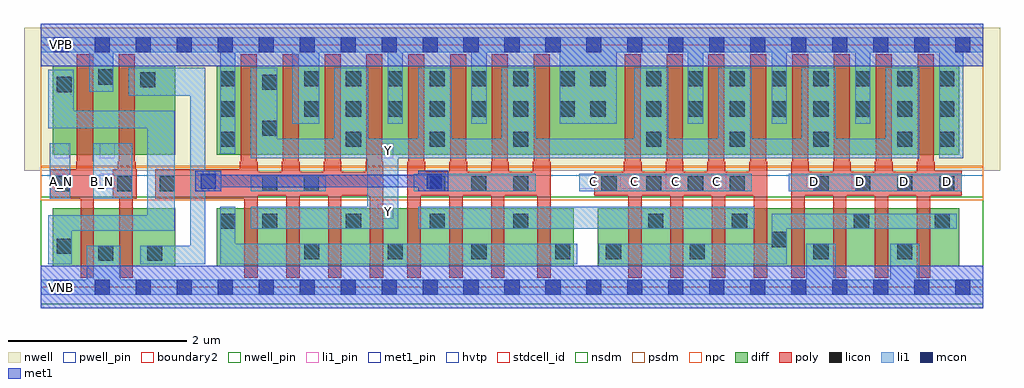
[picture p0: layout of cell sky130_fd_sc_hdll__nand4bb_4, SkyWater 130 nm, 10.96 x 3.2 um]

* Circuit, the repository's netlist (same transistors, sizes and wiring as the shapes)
* Copyright 2020 The SkyWater PDK Authors
*
* Licensed under the Apache License, Version 2.0 (the "License");
* you may not use this file except in compliance with the License.
* You may obtain a copy of the License at
*
*     https://www.apache.org/licenses/LICENSE-2.0
*
* Unless required by applicable law or agreed to in writing, software
* distributed under the License is distributed on an "AS IS" BASIS,
* WITHOUT WARRANTIES OR CONDITIONS OF ANY KIND, either express or implied.
* See the License for the specific language governing permissions and
* limitations under the License.
*
* SPDX-License-Identifier: Apache-2.0

.SUBCKT sky130_fd_sc_hdll__nand4bb_4 A_N B_N C D VGND VNB VPB VPWR Y
*.PININFO A_N:I B_N:I C:I D:I VGND:I VNB:I VPB:I VPWR:I Y:O
MMP0 Y A VPWR VPB sky130_fd_pr__pfet_01v8_hvt m=4 w=1.0U l=0.18U mult=1 sa=0.265
+ sb=0.265 sd=0.28 area=0.063 perim=1.14
MMP1 Y B VPWR VPB sky130_fd_pr__pfet_01v8_hvt m=4 w=1.0U l=0.18U mult=1 sa=0.265
+ sb=0.265 sd=0.28 area=0.063 perim=1.14
MMP2 Y C VPWR VPB sky130_fd_pr__pfet_01v8_hvt m=4 w=1.0U l=0.18U mult=1 sa=0.265
+ sb=0.265 sd=0.28 area=0.063 perim=1.14
MMP3 Y D VPWR VPB sky130_fd_pr__pfet_01v8_hvt m=4 w=1.0U l=0.18U mult=1 sa=0.265
+ sb=0.265 sd=0.28 area=0.063 perim=1.14
MMIP0 A A_N VPWR VPB sky130_fd_pr__pfet_01v8_hvt m=1 w=1.0U l=0.18U mult=1 sa=0.265
+ sb=0.265 sd=0.28 area=0.063 perim=1.14
MMIP1 B B_N VPWR VPB sky130_fd_pr__pfet_01v8_hvt m=1 w=1.0U l=0.18U mult=1 sa=0.265
+ sb=0.265 sd=0.28 area=0.063 perim=1.14
MMN0 Y A sndA VNB sky130_fd_pr__nfet_01v8 m=4 w=0.65U l=0.15U mult=1 sa=0.265 sb=0.265
+ sd=0.28 area=0.063 perim=1.14
MMN1 sndA B sndB VNB sky130_fd_pr__nfet_01v8 m=4 w=0.65U l=0.15U mult=1 sa=0.265
+ sb=0.265 sd=0.28 area=0.063 perim=1.14
MMN2 sndB C sndC VNB sky130_fd_pr__nfet_01v8 m=4 w=0.65U l=0.15U mult=1 sa=0.265
+ sb=0.265 sd=0.28 area=0.063 perim=1.14
MMN3 sndC D VGND VNB sky130_fd_pr__nfet_01v8 m=4 w=0.65U l=0.15U mult=1 sa=0.265
+ sb=0.265 sd=0.28 area=0.063 perim=1.14
MMIN0 A A_N VGND VNB sky130_fd_pr__nfet_01v8 m=1 w=0.65U l=0.15U mult=1 sa=0.265
+ sb=0.265 sd=0.28 area=0.063 perim=1.14
MMIN1 B B_N VGND VNB sky130_fd_pr__nfet_01v8 m=1 w=0.65U l=0.15U mult=1 sa=0.265
+ sb=0.265 sd=0.28 area=0.063 perim=1.14
.ENDS sky130_fd_sc_hdll__nand4bb_4

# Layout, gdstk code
import gdstk
lib = gdstk.Library(unit=1e-6, precision=1e-09)
def R(c, l, rs):  # rectangles x0, y0, x1, y1
    for r in rs: c.add(gdstk.rectangle(r[:2], r[2:], *l))
def A(c, l, x, y, w, h, nx, ny, dx, dy):  # array of equal rectangles
    R(c, l, [(x+i*dx, y+j*dy, x+i*dx+w, y+j*dy+h) for i in range(nx) for j in range(ny)])
def P(c, l, *ps):  # polygons
    for p in ps: c.add(gdstk.Polygon(p, *l))
nwell_pin = (64, 16)
nwell = (64, 20)
diff = (65, 20)
poly = (66, 20)
licon = (66, 44)
li1_pin = (67, 16)
li1 = (67, 20)
mcon = (67, 44)
met1_pin = (68, 16)
met1 = (68, 20)
hvtp = (78, 44)
stdcell_id = (81, 4)
nsdm = (93, 44)
psdm = (94, 20)
npc = (95, 20)
pwell_pin = (122, 16)
boundary2 = (236, 0)

sky130_fd_sc_hdll__nand4 = lib.new_cell('sky130_fd_sc_hdll__nand4bb_4')
R(sky130_fd_sc_hdll__nand4, nwell_pin, [(0.145,2.635,0.315,2.805)])
R(sky130_fd_sc_hdll__nand4, nwell, [(-0.19,1.305,10.77,2.91)])
R(sky130_fd_sc_hdll__nand4, diff, [(0.135,0.235,1.51,0.885), (1.975,0.235,5.985,0.885), (6.255,0.235,10.31,0.885), (0.135,1.485,1.51,2.485), (1.975,1.485,10.31,2.485)])
P(sky130_fd_sc_hdll__nand4, poly, [(0.595,1.41),(0.585,1.41),(0.585,2.615),(0.405,2.615),(0.405,1.41),(0.395,1.41),(0.395,1.325),(0.105,1.325),(0.105,0.995),(0.445,0.995),(0.445,0.105),(0.595,0.105)],
  [(1.075,1.325),(1.065,1.325),(1.065,1.41),(1.055,1.41),(1.055,2.615),(0.875,2.615),(0.875,1.41),(0.865,1.41),(0.865,1.325),(0.805,1.325),(0.805,0.995),(0.88,0.995),(0.88,0.105),(1.03,0.105),(1.03,0.995),(1.075,0.995)],
  [(3.845,1.41),(3.835,1.41),(3.835,2.615),(3.655,2.615),(3.655,1.41),(3.645,1.41),(3.645,1.295),(3.375,1.295),(3.375,1.41),(3.365,1.41),(3.365,2.615),(3.185,2.615),(3.185,1.41),(3.175,1.41),(3.175,1.295),(2.905,1.295),(2.905,1.41),(2.895,1.41),(2.895,2.615),(2.715,2.615),(2.715,1.41),(2.705,1.41),(2.705,1.295),(2.435,1.295),(2.435,1.41),(2.425,1.41),(2.425,2.615),(2.245,2.615),(2.245,1.41),(2.235,1.41),(2.235,1.325),(1.285,1.325),(1.285,0.995),(2.285,0.995),(2.285,0.105),(2.435,0.105),(2.435,1.025),(2.755,1.025),(2.755,0.105),(2.905,0.105),(2.905,1.025),(3.225,1.025),(3.225,0.105),(3.375,0.105),(3.375,1.025),(3.695,1.025),(3.695,0.105),(3.845,0.105)],
  [(5.725,1.41),(5.715,1.41),(5.715,2.615),(5.535,2.615),(5.535,1.41),(5.525,1.41),(5.525,1.295),(5.255,1.295),(5.255,1.41),(5.245,1.41),(5.245,2.615),(5.065,2.615),(5.065,1.41),(5.055,1.41),(5.055,1.295),(4.785,1.295),(4.785,1.41),(4.775,1.41),(4.775,2.615),(4.595,2.615),(4.595,1.41),(4.585,1.41),(4.585,1.295),(4.315,1.295),(4.315,1.41),(4.305,1.41),(4.305,2.615),(4.125,2.615),(4.125,1.41),(4.115,1.41),(4.115,0.105),(4.265,0.105),(4.265,1.025),(4.585,1.025),(4.585,0.105),(4.735,0.105),(4.735,1.025),(5.055,1.025),(5.055,0.105),(5.205,0.105),(5.205,1.025),(5.575,1.025),(5.575,0.105),(5.725,0.105)],
  [(8.155,1.41),(8.145,1.41),(8.145,2.615),(7.965,2.615),(7.965,1.41),(7.955,1.41),(7.955,1.295),(7.685,1.295),(7.685,1.41),(7.675,1.41),(7.675,2.615),(7.495,2.615),(7.495,1.41),(7.485,1.41),(7.485,1.295),(7.215,1.295),(7.215,1.41),(7.205,1.41),(7.205,2.615),(7.025,2.615),(7.025,1.41),(7.015,1.41),(7.015,1.295),(6.745,1.295),(6.745,1.41),(6.735,1.41),(6.735,2.615),(6.555,2.615),(6.555,1.41),(6.545,1.41),(6.545,1.295),(6.215,1.295),(6.215,1.025),(6.595,1.025),(6.595,0.105),(6.745,0.105),(6.745,1.025),(7.065,1.025),(7.065,0.105),(7.215,0.105),(7.215,1.025),(7.535,1.025),(7.535,0.105),(7.685,0.105),(7.685,1.025),(8.005,1.025),(8.005,0.105),(8.155,0.105)],
  [(10.34,1.305),(10.035,1.305),(10.035,1.41),(10.025,1.41),(10.025,2.615),(9.845,2.615),(9.845,1.41),(9.835,1.41),(9.835,1.295),(9.565,1.295),(9.565,1.41),(9.555,1.41),(9.555,2.615),(9.375,2.615),(9.375,1.41),(9.365,1.41),(9.365,1.295),(9.095,1.295),(9.095,1.41),(9.085,1.41),(9.085,2.615),(8.905,2.615),(8.905,1.41),(8.895,1.41),(8.895,1.295),(8.625,1.295),(8.625,1.41),(8.615,1.41),(8.615,2.615),(8.435,2.615),(8.435,1.41),(8.425,1.41),(8.425,0.105),(8.575,0.105),(8.575,1.025),(8.895,1.025),(8.895,0.105),(9.045,0.105),(9.045,1.025),(9.365,1.025),(9.365,0.105),(9.515,0.105),(9.515,1.025),(9.835,1.025),(9.835,0.105),(9.985,0.105),(9.985,1.025),(10.34,1.025)])
A(sky130_fd_sc_hdll__nand4, licon, 2.955, 0.315, 0.17, 0.17, 4, 1, 0.94, 0)
A(sky130_fd_sc_hdll__nand4, licon, 2.485, 0.655, 0.17, 0.17, 4, 1, 0.94, 0)
A(sky130_fd_sc_hdll__nand4, licon, 6.795, 1.075, 0.17, 0.17, 3, 1, 0.47, 0)
A(sky130_fd_sc_hdll__nand4, licon, 8.675, 1.075, 0.17, 0.17, 4, 1, 0.47, 0)
A(sky130_fd_sc_hdll__nand4, licon, 2.015, 1.575, 0.17, 0.17, 1, 3, 0, 0.34)
A(sky130_fd_sc_hdll__nand4, licon, 3.425, 1.575, 0.17, 0.17, 3, 1, 0.94, 0)
A(sky130_fd_sc_hdll__nand4, licon, 6.795, 1.575, 0.17, 0.17, 4, 1, 0.94, 0)
A(sky130_fd_sc_hdll__nand4, licon, 2.955, 1.915, 0.17, 0.17, 6, 2, 0.47, 0.34)
A(sky130_fd_sc_hdll__nand4, licon, 6.795, 1.915, 0.17, 0.17, 8, 2, 0.47, 0.34)
R(sky130_fd_sc_hdll__nand4, licon, [(0.645,0.295,0.815,0.465), (1.195,0.295,1.365,0.465), (6.345,0.315,6.515,0.485), (7.285,0.315,7.455,0.485), (8.675,0.315,8.845,0.485), (9.615,0.315,9.785,0.485), (0.175,0.375,0.345,0.545), (8.205,0.45,8.375,0.62), (2.015,0.655,2.185,0.825), (6.82,0.655,6.99,0.825), (7.76,0.655,7.93,0.825), (9.13,0.655,9.3,0.825), (9.13,0.655,9.3,0.825), (10.035,0.655,10.205,0.825), (0.16,1.075,0.33,1.245), (0.855,1.075,1.025,1.245), (1.335,1.075,1.505,1.245), (2.485,1.075,2.655,1.245), (2.95,1.075,3.12,1.245), (4.37,1.075,4.54,1.245), (4.83,1.075,5,1.245), (5.305,1.075,5.475,1.245), (6.295,1.075,6.465,1.245), (10.085,1.575,10.255,1.745), (2.485,1.7,2.655,1.87), (5.825,1.915,5.995,2.085), (6.17,1.915,6.34,2.085), (0.175,2.19,0.345,2.36), (2.485,2.215,2.655,2.385), (1.115,2.245,1.285,2.415), (5.825,2.255,5.995,2.425), (6.17,2.255,6.34,2.425), (0.645,2.275,0.815,2.445)])
A(sky130_fd_sc_hdll__nand4, li1_pin, 6.505, 1.105, 0.17, 0.17, 3, 1, 0.51, 0)
A(sky130_fd_sc_hdll__nand4, li1_pin, 8.595, 1.105, 0.17, 0.17, 4, 1, 0.51, 0)
R(sky130_fd_sc_hdll__nand4, li1_pin, [(3.785,0.765,3.955,0.935), (0.15,1.105,0.32,1.275), (0.66,1.105,0.83,1.275), (6.045,1.105,6.215,1.275), (0.15,1.445,0.32,1.615), (0.66,1.445,0.83,1.615), (3.785,1.445,3.955,1.615)])
R(sky130_fd_sc_hdll__nand4, li1, [(4.235,0.655,8.01,0.905), (0.1,0.995,0.33,1.615), (0.585,0.995,1.025,1.615), (2.355,1.075,3.2,1.245), (4.185,1.075,5.555,1.275), (6.045,1.075,7.985,1.275), (8.395,1.075,10.34,1.275)])
P(sky130_fd_sc_hdll__nand4, li1, [(10.58,0.085),(9.865,0.085),(9.865,0.485),(9.535,0.485),(9.535,0.085),(8.925,0.085),(8.925,0.485),(8.595,0.485),(8.595,0.085),(0.895,0.085),(0.895,0.465),(0.515,0.465),(0.515,0.085),(0,0.085),(0,-0.085),(10.58,-0.085)],
  [(10.58,2.805),(0,2.805),(0,2.635),(0.54,2.635),(0.54,2.195),(0.815,2.195),(0.815,2.635),(2.015,2.635),(2.015,1.495),(2.185,1.495),(2.185,2.635),(2.825,2.635),(2.825,1.835),(3.125,1.835),(3.125,2.635),(3.895,2.635),(3.895,1.835),(4.065,1.835),(4.065,2.635),(4.835,2.635),(4.835,1.835),(5.005,1.835),(5.005,2.635),(5.825,2.635),(5.825,1.835),(6.465,1.835),(6.465,2.635),(7.265,2.635),(7.265,1.835),(7.435,1.835),(7.435,2.635),(8.205,2.635),(8.205,1.835),(8.375,1.835),(8.375,2.635),(9.145,2.635),(9.145,1.835),(9.315,1.835),(9.315,2.635),(10.085,2.635),(10.085,1.445),(10.36,1.445),(10.36,2.635),(10.58,2.635)],
  [(2.025,1.305),(1.845,1.305),(1.845,2.465),(0.985,2.465),(0.985,2.15),(1.675,2.15),(1.675,0.465),(1.115,0.465),(1.115,0.255),(1.845,0.255),(1.845,1.075),(2.025,1.075)],
  [(1.505,1.98),(0.37,1.98),(0.37,2.44),(0.085,2.44),(0.085,1.785),(1.195,1.785),(1.195,0.805),(0.085,0.805),(0.085,0.255),(0.345,0.255),(0.345,0.635),(1.505,0.635)],
  [(9.865,2.465),(9.485,2.465),(9.485,1.665),(8.925,1.665),(8.925,2.465),(8.545,2.465),(8.545,1.665),(7.985,1.665),(7.985,2.465),(7.605,2.465),(7.605,1.665),(7.045,1.665),(7.045,2.465),(6.665,2.465),(6.665,1.665),(5.555,1.665),(5.555,2.465),(5.175,2.465),(5.175,1.665),(4.615,1.665),(4.615,2.465),(4.235,2.465),(4.235,1.665),(3.675,1.665),(3.675,2.465),(3.295,2.465),(3.295,1.665),(2.655,1.665),(2.655,2.465),(2.355,2.465),(2.355,1.445),(3.665,1.445),(3.665,0.905),(2.355,0.905),(2.355,0.655),(4.015,0.655),(4.015,1.445),(9.865,1.445)],
  [(10.285,0.825),(8.205,0.825),(8.205,0.485),(6.265,0.485),(6.265,0.255),(8.375,0.255),(8.375,0.655),(10.285,0.655)],
  [(6.025,0.485),(2.185,0.485),(2.185,0.905),(2.015,0.905),(2.015,0.255),(6.025,0.255)])
A(sky130_fd_sc_hdll__nand4, mcon, 0.145, -0.085, 0.17, 0.17, 23, 2, 0.46, 2.72)
R(sky130_fd_sc_hdll__nand4, mcon, [(1.795,1.105,1.965,1.275), (4.33,1.105,4.5,1.275)])
R(sky130_fd_sc_hdll__nand4, met1_pin, [(0.145,-0.085,0.315,0.085), (0.145,2.635,0.315,2.805)])
R(sky130_fd_sc_hdll__nand4, met1, [(0,-0.24,10.58,0.24), (0,2.48,10.58,2.96)])
P(sky130_fd_sc_hdll__nand4, met1, [(4.575,1.305),(4.235,1.305),(4.235,1.26),(2.025,1.26),(2.025,1.305),(1.735,1.305),(1.735,1.075),(2.025,1.075),(2.025,1.12),(4.235,1.12),(4.235,1.075),(4.575,1.075)])
R(sky130_fd_sc_hdll__nand4, hvtp, [(0,1.25,10.58,2.72)])
R(sky130_fd_sc_hdll__nand4, stdcell_id, [(0,0,10.58,2.72)])
R(sky130_fd_sc_hdll__nand4, nsdm, [(0,-0.19,10.58,1.015)])
R(sky130_fd_sc_hdll__nand4, psdm, [(0,1.355,10.58,2.91)])
R(sky130_fd_sc_hdll__nand4, npc, [(0,0.975,10.58,1.345)])
R(sky130_fd_sc_hdll__nand4, pwell_pin, [(0.145,-0.085,0.315,0.085)])
R(sky130_fd_sc_hdll__nand4, boundary2, [(0,0,10.58,2.72)])
sky130_fd_sc_hdll__nand4.add(gdstk.Label('B_N', (0.695,1.19), layer=67, texttype=5))
sky130_fd_sc_hdll__nand4.add(gdstk.Label('A_N', (0.235,1.19), layer=67, texttype=5))
sky130_fd_sc_hdll__nand4.add(gdstk.Label('C', (6.205,1.19), layer=67, texttype=5))
sky130_fd_sc_hdll__nand4.add(gdstk.Label('Y', (3.905,0.85), layer=67, texttype=5))
sky130_fd_sc_hdll__nand4.add(gdstk.Label('Y', (3.905,1.53), layer=67, texttype=5))
sky130_fd_sc_hdll__nand4.add(gdstk.Label('C', (6.665,1.19), layer=67, texttype=5))
sky130_fd_sc_hdll__nand4.add(gdstk.Label('C', (7.125,1.19), layer=67, texttype=5))
sky130_fd_sc_hdll__nand4.add(gdstk.Label('C', (7.585,1.19), layer=67, texttype=5))
sky130_fd_sc_hdll__nand4.add(gdstk.Label('D', (8.69,1.19), layer=67, texttype=5))
sky130_fd_sc_hdll__nand4.add(gdstk.Label('D', (9.7,1.19), layer=67, texttype=5))
sky130_fd_sc_hdll__nand4.add(gdstk.Label('D', (10.185,1.19), layer=67, texttype=5))
sky130_fd_sc_hdll__nand4.add(gdstk.Label('D', (9.205,1.19), layer=67, texttype=5))
sky130_fd_sc_hdll__nand4.add(gdstk.Label('VNB', (0.23,0), layer=64, texttype=59))
sky130_fd_sc_hdll__nand4.add(gdstk.Label('VPB', (0.23,2.72), layer=64, texttype=5))
sky130_fd_sc_hdll__nand4.add(gdstk.Label('VGND', (0.23,0), layer=68, texttype=5))
sky130_fd_sc_hdll__nand4.add(gdstk.Label('VPWR', (0.23,2.72), layer=68, texttype=5))
sky130_fd_sc_hdll__nand4.add(gdstk.Label('nand4bb_4', (0,0), layer=83, texttype=44))

lib.write_gds('sky130_fd_sc_hdll__nand4bb_4.gds')
